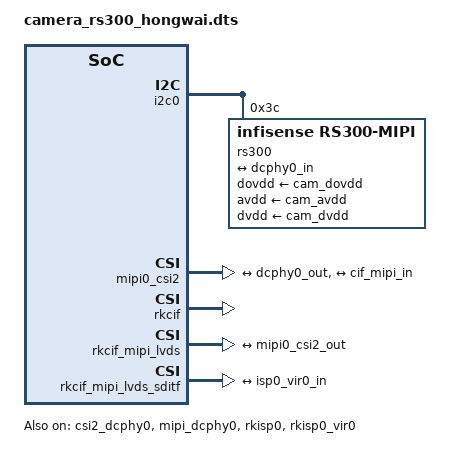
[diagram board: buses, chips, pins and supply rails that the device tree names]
/dts-v1/;
/plugin/;

#include <dt-bindings/gpio/gpio.h>
#include <dt-bindings/pinctrl/rockchip.h>
#include <dt-bindings/clock/rk3588-cru.h>
#include <dt-bindings/power/rk3588-power.h>

/ {
	fragment@0 {
		target = <&i2c0>;
		__overlay__ {
			status = "okay";
			#address-cells = <1>;
			#size-cells = <0>;

			rs300: rs300@3c {
				status = "okay";
				compatible = "infisense,rs300-mipi";
				reg = <0x3c>;

				clocks = <&ext_cam_24m_clk>;
				clock-names = "xvclk";
				power-domains = <&power RK3588_PD_VI>;
				dovdd-supply= <&cam_dovdd>; /* 1.8v */
				avdd-supply = <&cam_avdd>;  /* 2.8v */
				dvdd-supply = <&cam_dvdd>;  /* 1.2v */

				rockchip,camera-module-index = <0>;
				rockchip,camera-module-facing = "back";
				rockchip,camera-module-name = "RS300";
				rockchip,camera-module-lens-name = "NC";

				port {
					rs300_out: endpoint {
						remote-endpoint = <&dcphy0_in>;
						clock-lanes = <0>;
						data-lanes = <1 2>;
					};
				};
			};
		};
	};

	fragment@1 {
		target = <&csi2_dcphy0>;
		__overlay__ {
			status = "okay";
			ports {
				#address-cells = <1>;
				#size-cells = <0>;

				port@0 {
					reg = <0>;
					#address-cells = <1>;
					#size-cells = <0>;

					dcphy0_in: endpoint@1 {
						reg = <1>;
						remote-endpoint = <&rs300_out>;
						data-lanes = <1 2>;
					};
				};

				port@1 {
					reg = <1>;
					#address-cells = <1>;
					#size-cells = <0>;

					dcphy0_out: endpoint@0 {
						reg = <0>;
						remote-endpoint = <&mipi0_csi2_in>;
					};
				};
			};
		};
	};

	fragment@2 {
		target = <&mipi0_csi2>;
		__overlay__ {
			status = "okay";
			ports {
				#address-cells = <1>;
				#size-cells = <0>;

				port@0 {
					reg = <0>;
					#address-cells = <1>;
					#size-cells = <0>;

					mipi0_csi2_in: endpoint@1 {
						reg = <1>;
						remote-endpoint = <&dcphy0_out>;
					};
				};

				port@1 {
					reg = <1>;
					#address-cells = <1>;
					#size-cells = <0>;

					mipi0_csi2_out: endpoint@0 {
						reg = <0>;
						remote-endpoint = <&cif_mipi_in>;
					};
				};
			};
		};
	};

	fragment@3 {
		target = <&mipi_dcphy0>;
		__overlay__ {
			status = "okay";
		};
	};

	fragment@4 {
		target = <&rkcif>;
		__overlay__ {
			status = "okay";
		};
	};

	fragment@5 {
		target = <&rkcif_mipi_lvds>;
		__overlay__ {
			status = "okay";
			port {
				cif_mipi_in: endpoint {
					remote-endpoint = <&mipi0_csi2_out>;
					bus-type = <4>;   /* V4L2_MBUS_CSI2_DPHY = 4 */
				};
			};
		};
	};

	fragment@6 {
		target = <&rkcif_mipi_lvds_sditf>;
		__overlay__ {
			status = "okay";
			port {
				mipi_lvds_sditf: endpoint {
					remote-endpoint = <&isp0_vir0_in>;
				};
			};
		};
	};

	fragment@7 {
		target = <&rkcif_mmu>;
		__overlay__ {
			status = "okay";
		};
	};

	fragment@8 {
		target = <&rkisp0>;
		__overlay__ {
			status = "okay";
		};
	};

	fragment@9 {
		target = <&isp0_mmu>;
		__overlay__ {
			status = "okay";
		};
	};

	fragment@10 {
		target = <&rkisp0_vir0>;
		__overlay__ {
			status = "okay";
			port {
				#address-cells = <1>;
				#size-cells = <0>;

				isp0_vir0_in: endpoint@0 {
					reg = <0>;
					remote-endpoint = <&mipi_lvds_sditf>;
				};
			};
		};
	};
};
